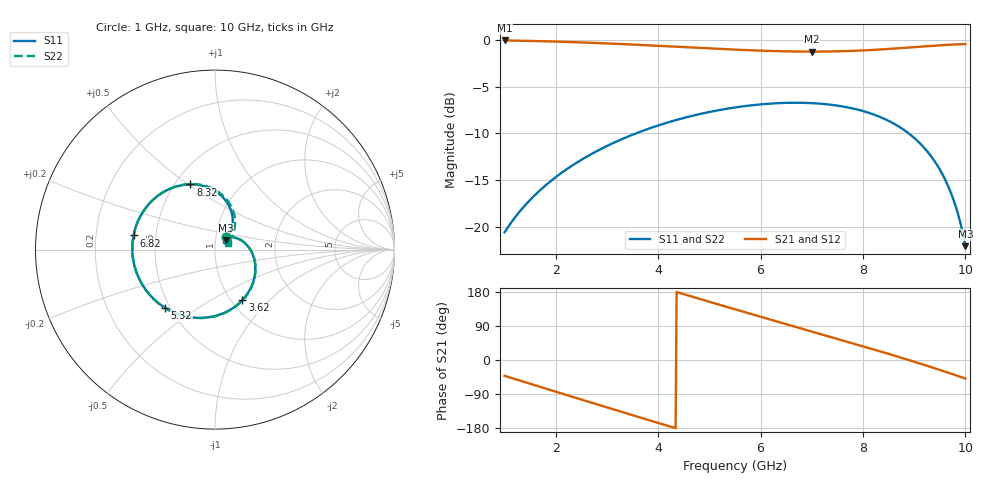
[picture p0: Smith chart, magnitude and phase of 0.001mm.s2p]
! Touchstone file exported from HFSS 2018.2.0
!  File:  C:/Users/10024/OneDrive - The University of Nottingham Ningbo China/Year 4/Final Year Project/HFSS project/Passive_Resonator_Antenna.aedt
!  Generated:  12:14:17 下午  3月 12, 2022
!  Design:  SMA_Thru
!  Project:  Passive_Resonator_Antenna
!  Setup:  Setup1
!  Solution:  Sweep
! Variables:
!  MW = 1mm
!  ThruL = 0.001mm
!  g = 0.2mm
!  subH = 0.8mm
!  subX = 20mm
!  subY = 10.001mm
!  tapW = 1mm
# GHZ S MA R 50.000000
! Modal data exported
! Port[1] = SMA_CONNECTOR1_1:1
! Port[2] = SMA_CONNECTOR2_1:1
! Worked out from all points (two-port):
!   451 points, 1 GHz to 10 GHz, reference 50 ohm
!   highest |S21| = -0.04 dB at 1 GHz (marker M1); lowest = -1.2 dB at 7 GHz (marker M2)
!   |S21| within 3 dB of the highest: start of sweep to end of sweep
!   lowest |S11| = -22.1 dB at 10 GHz (marker M3), VSWR 1.17, Z = 56 + j5.79 ohm
!   |S11| at or under -10 dB: start of sweep to 3.57 GHz; 8.89 GHz to end of sweep
!   |S22| runs from -21.9 to -6.7 dB; largest |S21 - S12| = 1.6e-14
!   S11 on the Smith chart (normalised r, x): 1 GHz: 1.12, +0.16; 3.62 GHz: 1.12, -0.71; 5.32 GHz: 0.47, -0.37; 6.82 GHz: 0.37, +0.07; 8.32 GHz: 0.60, +0.51; 10 GHz: 1.12, +0.12
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1  0.09318 47.8  0.9951 -41.9  0.9951 -41.9  0.09318 48.4
! Gamma ! 0.0151858380091433 30.3716836112083 0.0151858380091308 30.3716836111989
! Port Impedance50 0 50 0
1.42  0.1317 30.1  0.9904 -59.5  0.9904 -59.5  0.1317 30.7
1.78  0.1644 15.0  0.9851 -74.5  0.9851 -74.5  0.1643 15.6
2.14  0.1965 -0.1  0.9787 -89.5  0.9787 -89.5  0.1964 0.6
2.5  0.2279 -15.2  0.9712 -104.4  0.9712 -104.4  0.2279 -14.4
3.02  0.272 -36.8  0.9588 -126.0  0.9588 -126.0  0.272 -36.0
3.62  0.3201 -61.6  0.9424 -150.6  0.9424 -150.6  0.32 -60.8
4  0.3483 -77.3  0.9313 -166.1  0.9313 -166.1  0.3483 -76.4
4.32  0.3705 -90.3  0.9218 -179.1  0.9218 -179.1  0.3705 -89.5
4.64  0.3909 -103.3  0.9122 168.0  0.9122 168.0  0.3909 -102.5
5.32  0.4273 -130.7  0.893 140.9  0.893 140.9  0.4272 -130.0
5.5  0.4351 -137.8  0.8884 133.8  0.8884 133.8  0.435 -137.2
6.16  0.4556 -164.0  0.8745 107.9  0.8745 107.9  0.4555 -163.5
6.82  0.4607 170.1  0.8675 82.2  0.8675 82.2  0.4607 170.3
7  0.4589 163.0  0.8671 75.2  0.8671 75.2  0.4588 163.2
7.64  0.4386 137.9  0.8722 50.4  0.8722 50.4  0.4386 137.6
8.32  0.3882 110.7  0.8894 23.5  0.8894 23.5  0.3883 109.7
8.5  0.3687 103.3  0.8959 16.2  0.8959 16.2  0.369 102.2
8.98  0.302 83.3  0.916 -3.7  0.916 -3.7  0.3025 81.3
9.44  0.2152 63.6  0.9357 -23.5  0.9357 -23.5  0.2162 59.8
9.74  0.1459 50.7  0.9458 -36.9  0.9458 -36.9  0.1472 44.4
10  0.07844 41.0  0.9506 -48.9  0.9506 -48.9  0.08032 28.2
